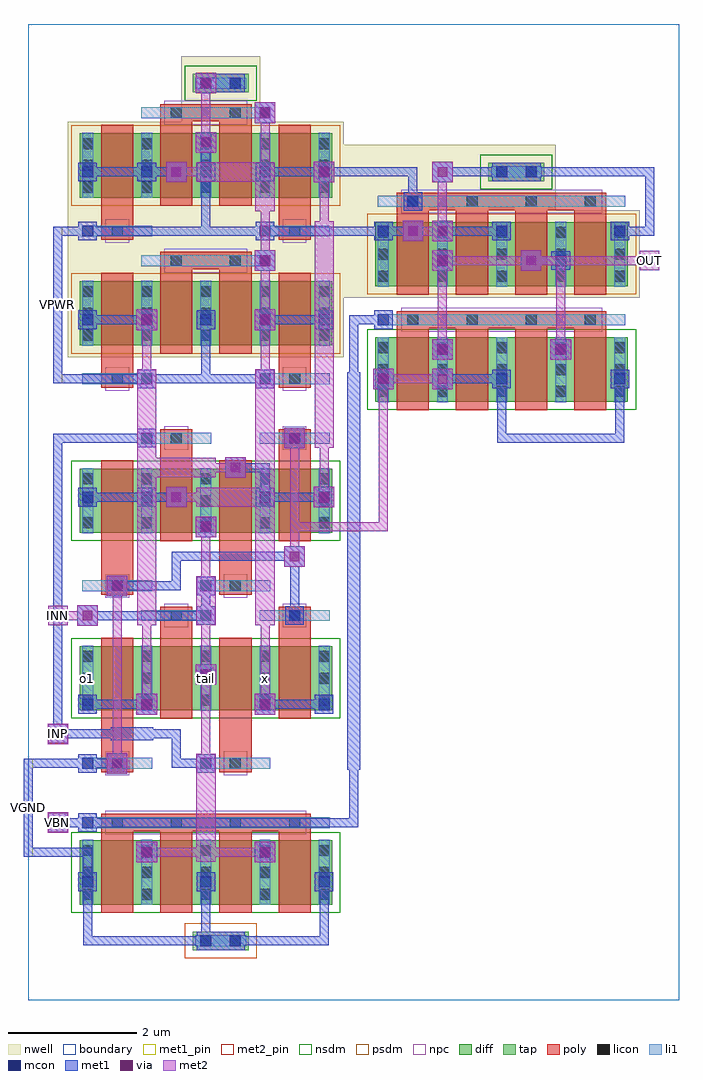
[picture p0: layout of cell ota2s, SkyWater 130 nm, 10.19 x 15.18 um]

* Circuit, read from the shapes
.subckt ota2s INN INP OUT VBN VGND VPWR o1 tail x
XM1 tail VBN VGND VGND sky130_fd_pr__nfet_01v8 w=1 l=0.5 m=4
XM2 o1 VGND o1 VGND sky130_fd_pr__nfet_01v8 w=1 l=0.5 m=2
XM3 x VGND x VGND sky130_fd_pr__nfet_01v8 w=1 l=0.5 m=2
XM4 tail INN o1 VGND sky130_fd_pr__nfet_01v8 w=1 l=0.5 m=2
XM5 tail INP x VGND sky130_fd_pr__nfet_01v8 w=1 l=0.5 m=2
XM6 OUT VBN VGND VGND sky130_fd_pr__nfet_01v8 w=1 l=0.5 m=4
XM7 o1 VPWR o1 VPWR sky130_fd_pr__pfet_01v8 w=1 l=0.5 m=2
XM8 x VPWR x VPWR sky130_fd_pr__pfet_01v8 w=1 l=0.5 m=2
XM9 VPWR x o1 VPWR sky130_fd_pr__pfet_01v8 w=1 l=0.5 m=2
XM10 VPWR x x VPWR sky130_fd_pr__pfet_01v8 w=1 l=0.5 m=2
XM11 OUT o1 VPWR VPWR sky130_fd_pr__pfet_01v8 w=1 l=0.5 m=4
.ends

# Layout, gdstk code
import gdstk
lib = gdstk.Library(unit=1e-6, precision=1e-09)
def R(c, l, rs):  # rectangles x0, y0, x1, y1
    for r in rs: c.add(gdstk.rectangle(r[:2], r[2:], *l))
def A(c, l, x, y, w, h, nx, ny, dx, dy):  # array of equal rectangles
    R(c, l, [(x+i*dx, y+j*dy, x+i*dx+w, y+j*dy+h) for i in range(nx) for j in range(ny)])
nwell = (64, 20)
diff = (65, 20)
tap = (65, 44)
poly = (66, 20)
licon = (66, 44)
li1 = (67, 20)
mcon = (67, 44)
met1_pin = (68, 16)
met1 = (68, 20)
via = (68, 44)
met2_pin = (69, 16)
met2 = (69, 20)
nsdm = (93, 44)
psdm = (94, 20)
npc = (95, 20)
boundary = (235, 4)

ota2s = lib.new_cell('ota2s')
R(ota2s, nwell, [(0.615,10,4.905,10.92), (0.615,10.92,9.505,12.28), (0.615,12.28,8.205,13.3), (0.615,13.3,4.905,13.66), (2.375,13.66,3.605,14.68)])
R(ota2s, diff, [(0.795,1.485,4.725,2.485), (0.795,4.505,4.725,5.505), (0.795,7.265,4.725,8.265), (5.395,9.305,9.325,10.305), (0.795,10.18,4.725,11.18), (5.395,11.1,9.325,12.1), (0.795,12.48,4.725,13.48)])
R(ota2s, tap, [(2.555,0.775,3.425,1.065), (7.155,12.735,8.025,13.025), (2.555,14.115,3.425,14.405)])
A(ota2s, poly, 1.13, 1.355, 0.5, 1.405, 4, 1, 0.92, 0)
A(ota2s, poly, 5.73, 9.175, 0.5, 1.405, 4, 1, 0.92, 0)
A(ota2s, poly, 5.73, 10.97, 0.5, 1.45, 4, 1, 0.92, 0)
R(ota2s, poly, [(1.13,2.625,4.39,2.895), (1.13,3.545,1.63,3.815), (2.97,3.545,3.47,3.815), (1.13,3.68,1.63,5.635), (2.97,3.68,3.47,5.635), (2.05,4.375,2.55,5.98), (3.89,4.375,4.39,5.98), (2.05,5.845,2.55,6.115), (3.89,5.845,4.39,6.115), (1.13,6.305,1.63,6.575), (2.97,6.305,3.47,6.575), (1.13,6.44,1.63,8.395), (2.97,6.44,3.47,8.395), (2.05,7.135,2.55,8.74), (3.89,7.135,4.39,8.74), (2.05,8.605,2.55,8.875), (3.89,8.605,4.39,8.875), (1.13,9.525,1.63,9.795), (3.89,9.525,4.39,9.795), (1.13,9.66,1.63,11.31), (3.89,9.66,4.39,11.31), (2.05,10.05,2.55,11.5), (2.97,10.05,3.47,11.5), (5.73,10.445,8.99,10.715), (2.05,11.365,3.47,11.635), (1.13,11.825,1.63,12.095), (3.89,11.825,4.39,12.095), (1.13,11.96,1.63,13.61), (3.89,11.96,4.39,13.61), (5.73,12.285,8.99,12.555), (2.05,12.35,2.55,13.8), (2.97,12.35,3.47,13.8), (2.05,13.665,3.47,13.935)])
A(ota2s, licon, 3.135, 0.835, 0.17, 0.17, 1, 3, 0, 2.76)
A(ota2s, licon, 0.835, 1.56, 0.17, 0.17, 5, 3, 0.92, 0.34)
A(ota2s, licon, 1.295, 2.675, 0.17, 0.17, 4, 1, 0.92, 0)
A(ota2s, licon, 0.835, 4.58, 0.17, 0.17, 5, 3, 0.92, 0.34)
A(ota2s, licon, 2.215, 5.895, 0.17, 0.17, 1, 3, 0, 2.76)
A(ota2s, licon, 0.835, 7.34, 0.17, 0.17, 5, 3, 0.92, 0.34)
A(ota2s, licon, 5.435, 9.38, 0.17, 0.17, 5, 3, 0.92, 0.34)
A(ota2s, licon, 0.835, 10.255, 0.17, 0.17, 5, 3, 0.92, 0.34)
A(ota2s, licon, 5.895, 10.495, 0.17, 0.17, 4, 2, 0.92, 1.84)
A(ota2s, licon, 5.435, 11.175, 0.17, 0.17, 5, 3, 0.92, 0.34)
A(ota2s, licon, 0.835, 12.555, 0.17, 0.17, 5, 3, 0.92, 0.34)
R(ota2s, licon, [(2.675,0.835,2.845,1.005), (1.295,3.595,1.465,3.765), (4.055,5.895,4.225,6.065), (1.295,6.355,1.465,6.525), (4.055,8.655,4.225,8.825), (1.295,9.575,1.465,9.745), (4.055,9.575,4.225,9.745), (3.135,11.415,3.305,11.585), (1.295,11.875,1.465,12.045), (4.055,11.875,4.225,12.045), (7.275,12.795,7.445,12.965), (7.735,12.795,7.905,12.965), (2.215,13.715,2.385,13.885), (3.135,13.715,3.305,13.885), (2.675,14.175,2.845,14.345), (3.135,14.175,3.305,14.345)])
A(ota2s, li1, 0.835, 1.48, 0.17, 1.01, 5, 2, 0.92, 3.02)
A(ota2s, li1, 0.835, 7.26, 0.17, 1.01, 5, 2, 0.92, 2.915)
A(ota2s, li1, 5.435, 9.3, 0.17, 1.01, 5, 2, 0.92, 1.795)
A(ota2s, li1, 0.835, 12.475, 0.17, 1.01, 5, 1, 0.92, 0)
R(ota2s, li1, [(2.595,0.835,3.385,1.005), (0.835,2.675,4.685,2.845), (0.835,3.595,1.925,3.765), (2.675,3.595,3.765,3.765), (1.755,5.895,2.845,6.065), (3.595,5.895,4.685,6.065), (0.835,6.355,1.925,6.525), (2.675,6.355,3.765,6.525), (1.755,8.655,2.845,8.825), (3.595,8.655,4.685,8.825), (0.835,9.575,1.925,9.745), (3.595,9.575,4.685,9.745), (5.435,10.495,9.285,10.665), (1.755,11.415,3.765,11.585), (0.835,11.875,1.925,12.045), (3.595,11.875,4.685,12.045), (5.435,12.335,9.285,12.505), (7.195,12.795,7.985,12.965), (1.755,13.715,3.765,13.885), (2.595,14.175,3.385,14.345)])
A(ota2s, mcon, 0.835, 1.755, 0.17, 0.17, 3, 1, 1.84, 0)
A(ota2s, mcon, 0.835, 2.675, 0.17, 0.17, 1, 3, 0, 0.92)
A(ota2s, mcon, 1.755, 9.575, 0.17, 0.17, 5, 1, 1.84, 0)
A(ota2s, mcon, 0.835, 10.495, 0.17, 0.17, 6, 1, 0.92, 0)
A(ota2s, mcon, 3.595, 11.875, 0.17, 0.17, 4, 1, 1.84, 0)
A(ota2s, mcon, 0.835, 12.795, 0.17, 0.17, 5, 1, 0.92, 0)
R(ota2s, mcon, [(2.675,0.835,2.845,1.005), (3.135,0.835,3.305,1.005), (1.755,2.215,1.925,2.385), (3.595,2.215,3.765,2.385), (2.675,3.595,2.845,3.765), (1.755,4.515,1.925,4.685), (3.595,4.515,3.765,4.685), (4.515,4.515,4.685,4.685), (2.675,4.975,2.845,5.145), (2.675,5.895,2.845,6.065), (4.055,5.895,4.225,6.065), (1.295,6.355,1.465,6.525), (2.675,6.355,2.845,6.525), (2.675,7.275,2.845,7.445), (0.835,7.735,1.005,7.905), (1.755,7.735,1.925,7.905), (3.595,7.735,3.765,7.905), (4.515,7.735,4.685,7.905), (1.755,8.655,1.925,8.825), (4.055,8.655,4.225,8.825), (6.355,10.035,6.525,10.205), (8.195,10.035,8.365,10.205), (3.595,11.415,3.765,11.585), (6.355,11.415,6.525,11.585), (8.195,11.415,8.365,11.585), (0.835,11.875,1.005,12.045), (5.895,12.335,6.065,12.505), (7.275,12.795,7.445,12.965), (7.735,12.795,7.905,12.965), (3.595,13.715,3.765,13.885), (2.675,14.175,2.845,14.345), (3.135,14.175,3.305,14.345)])
R(ota2s, met1_pin, [(-0.07,2.23,0.07,3.75), (0.39,9.59,0.53,12.03)])
A(ota2s, met1, 0.85, 0.85, 0.14, 1.06, 3, 1, 1.84, 0)
A(ota2s, met1, 0.775, 1.695, 0.29, 0.29, 3, 1, 1.84, 0)
A(ota2s, met1, 0.775, 2.615, 0.29, 0.29, 1, 3, 0, 0.92)
A(ota2s, met1, 1.695, 9.515, 0.29, 0.29, 5, 1, 1.84, 0)
A(ota2s, met1, 0.775, 10.435, 0.29, 0.29, 6, 1, 0.92, 0)
A(ota2s, met1, 3.535, 11.815, 0.29, 0.29, 4, 1, 1.84, 0)
A(ota2s, met1, 0.775, 12.735, 0.29, 0.29, 5, 1, 0.92, 0)
A(ota2s, met1, 0.85, 12.81, 1.06, 0.14, 3, 1, 2.76, 0)
R(ota2s, met1, [(2.615,0.775,3.365,1.065), (0.85,0.85,2.83,0.99), (2.69,0.85,4.67,0.99), (2.69,0.85,2.83,0.99), (0.85,1.77,0.99,2.37), (1.68,2.14,2,2.46), (3.52,2.14,3.84,2.46), (1.695,2.155,1.985,2.445), (3.535,2.155,3.825,2.445), (-0.07,2.23,0.99,2.37), (-0.07,2.23,0.07,3.75), (0.3,2.6,0.62,2.92), (0.39,2.69,0.99,2.83), (0.85,2.69,5.13,2.83), (4.99,2.69,5.13,3.75), (1.22,3.52,1.54,3.84), (2.615,3.535,2.905,3.825), (4.96,3.58,5.16,9.76), (-0.07,3.61,0.99,3.75), (0.85,3.61,1.45,3.75), (2.23,3.61,2.83,3.75), (2.23,3.61,2.37,4.21), (0.3,3.98,0.62,4.3), (1.28,4.04,1.94,4.24), (0.39,4.07,0.53,8.81), (0.39,4.07,1.45,4.21), (1.77,4.07,2.37,4.21), (1.68,4.44,2,4.76), (3.52,4.44,3.84,4.76), (1.695,4.455,1.985,4.745), (3.535,4.455,3.825,4.745), (4.455,4.455,4.745,4.745), (0.85,4.53,1.91,4.67), (3.61,4.53,4.67,4.67), (2.6,4.9,2.92,5.22), (2.615,4.915,2.905,5.205), (0.76,5.82,1.08,6.14), (2.615,5.835,2.905,6.125), (3.995,5.835,4.285,6.125), (0.85,5.91,2.83,6.05), (2.69,5.91,2.83,6.51), (4.07,5.91,4.21,6.97), (1.22,6.28,1.54,6.6), (1.235,6.295,1.525,6.585), (2.615,6.295,2.905,6.585), (1.31,6.37,2.37,6.51), (2.23,6.37,2.37,6.97), (3.98,6.74,4.3,7.06), (2.23,6.83,4.21,6.97), (2.6,7.2,2.92,7.52), (2.615,7.215,2.905,7.505), (2.14,7.66,2.46,7.98), (4.44,7.66,4.76,7.98), (0.775,7.675,1.065,7.965), (1.695,7.675,1.985,7.965), (3.535,7.675,3.825,7.965), (4.455,7.675,4.745,7.965), (0.85,7.75,1.91,7.89), (1.77,7.75,2.37,7.89), (3.61,7.75,3.75,8.35), (3.61,7.75,4.67,7.89), (3.06,8.12,3.38,8.44), (3.15,8.21,3.75,8.35), (3.98,8.58,4.3,8.9), (1.695,8.595,1.985,8.885), (3.995,8.595,4.285,8.885), (0.39,8.67,1.91,8.81), (7.29,8.67,9.27,8.81), (7.29,8.67,7.43,9.73), (9.13,8.67,9.27,9.73), (5.36,9.5,5.68,9.82), (6.28,9.5,6.6,9.82), (0.39,9.59,1.91,9.73), (0.39,9.59,0.53,12.03), (1.77,9.59,2.83,9.73), (2.69,9.59,2.83,10.65), (2.69,9.59,3.75,9.73), (4.99,9.59,5.13,10.65), (6.37,9.59,7.43,9.73), (6.28,9.96,6.6,10.28), (8.12,9.96,8.44,10.28), (6.295,9.975,6.585,10.265), (8.135,9.975,8.425,10.265), (1.68,10.42,2,10.74), (3.52,10.42,3.84,10.74), (0.85,10.51,1.91,10.65), (3.61,10.51,4.67,10.65), (4.99,10.51,5.59,10.65), (3.52,11.34,3.84,11.66), (6.28,11.34,6.6,11.66), (7.66,11.34,7.98,11.66), (3.535,11.355,3.825,11.645), (6.295,11.355,6.585,11.645), (8.135,11.355,8.425,11.645), (7.75,11.43,8.35,11.57), (5.82,11.8,6.14,12.12), (6.28,11.8,6.6,12.12), (0.775,11.815,1.065,12.105), (0.39,11.89,0.99,12.03), (0.85,11.89,3.75,12.03), (2.69,11.89,2.83,12.95), (3.61,11.89,5.59,12.03), (5.45,11.89,6.05,12.03), (6.37,11.89,7.43,12.03), (9.13,11.89,9.73,12.03), (9.59,11.89,9.73,12.95), (5.835,12.275,6.125,12.565), (5.91,12.35,6.05,12.95), (2.14,12.72,2.46,13.04), (4.44,12.72,4.76,13.04), (6.28,12.72,6.6,13.04), (7.215,12.735,7.965,13.025), (1.77,12.81,2.37,12.95), (2.69,12.81,2.83,13.41), (4.53,12.81,6.05,12.95), (7.29,12.81,7.43,12.95), (7.29,12.81,9.73,12.95), (2.6,13.18,2.92,13.5), (3.52,13.64,3.84,13.96), (3.535,13.655,3.825,13.945), (2.6,14.1,2.92,14.42), (2.615,14.115,3.365,14.405), (2.69,14.19,2.83,14.33)])
R(ota2s, via, [(1.765,2.225,1.915,2.375), (3.605,2.225,3.755,2.375), (0.385,2.685,0.535,2.835), (1.305,3.605,1.455,3.755), (0.385,4.065,0.535,4.215), (1.765,4.525,1.915,4.675), (3.605,4.525,3.755,4.675), (2.685,4.985,2.835,5.135), (0.845,5.905,0.995,6.055), (1.305,6.365,1.455,6.515), (4.065,6.825,4.215,6.975), (2.685,7.285,2.835,7.435), (2.225,7.745,2.375,7.895), (4.525,7.745,4.675,7.895), (3.145,8.205,3.295,8.355), (4.065,8.665,4.215,8.815), (5.445,9.585,5.595,9.735), (6.365,9.585,6.515,9.735), (6.365,10.045,6.515,10.195), (8.205,10.045,8.355,10.195), (1.765,10.505,1.915,10.655), (3.605,10.505,3.755,10.655), (3.605,11.425,3.755,11.575), (6.365,11.425,6.515,11.575), (7.745,11.425,7.895,11.575), (5.905,11.885,6.055,12.035), (6.365,11.885,6.515,12.035), (2.225,12.805,2.375,12.955), (4.525,12.805,4.675,12.955), (6.365,12.805,6.515,12.955), (2.685,13.265,2.835,13.415), (3.605,13.725,3.755,13.875), (2.685,14.185,2.835,14.335)])
R(ota2s, met2_pin, [(0.31,2.61,0.61,2.91), (0.31,3.99,0.61,4.29), (0.31,5.83,0.61,6.13), (9.51,11.35,9.81,11.65)])
A(ota2s, met2, 3.61, 9.59, 0.14, 1.06, 1, 3, 0, 0.92)
R(ota2s, met2, [(1.68,2.14,2,2.46), (3.52,2.14,3.84,2.46), (2.61,2.15,2.91,3.83), (1.77,2.23,2.83,2.37), (2.69,2.23,3.75,2.37), (0.3,2.6,0.62,2.92), (0.31,2.61,0.61,2.91), (0.39,2.69,0.53,2.83), (1.22,3.52,1.54,3.84), (1.31,3.61,1.45,6.51), (2.69,3.61,2.83,5.13), (0.3,3.98,0.62,4.3), (0.31,3.99,0.61,4.29), (0.39,4.07,0.53,4.21), (1.68,4.44,2,4.76), (3.52,4.44,3.84,4.76), (1.77,4.53,1.91,6.05), (3.61,4.53,3.75,6.05), (2.6,4.9,2.92,5.22), (2.69,4.99,2.83,6.05), (0.76,5.82,1.08,6.14), (0.31,5.83,0.61,6.13), (1.69,5.83,1.99,9.81), (2.61,5.83,2.91,6.59), (3.53,5.83,3.83,9.81), (0.39,5.91,0.53,6.05), (0.39,5.91,0.99,6.05), (1.22,6.28,1.54,6.6), (2.69,6.37,2.83,7.43), (3.98,6.74,4.3,7.06), (4.07,6.83,4.21,8.81), (2.6,7.2,2.92,7.52), (4.07,7.29,5.59,7.43), (5.45,7.29,5.59,9.73), (2.14,7.66,2.46,7.98), (4.44,7.66,4.76,7.98), (2.61,7.67,3.83,7.97), (2.23,7.75,2.83,7.89), (4.53,7.75,4.67,8.81), (3.06,8.12,3.38,8.44), (1.69,8.13,2.91,8.43), (2.69,8.21,3.29,8.35), (3.98,8.58,4.3,8.9), (4.45,8.59,4.75,12.11), (5.36,9.5,5.68,9.82), (6.28,9.5,6.6,9.82), (1.77,9.59,1.91,10.65), (5.45,9.59,6.51,9.73), (6.28,9.96,6.6,10.28), (8.12,9.96,8.44,10.28), (6.37,10.05,6.51,11.57), (8.21,10.05,8.35,11.57), (1.68,10.42,2,10.74), (3.52,10.42,3.84,10.74), (3.52,11.34,3.84,11.66), (6.28,11.34,6.6,11.66), (7.66,11.34,7.98,11.66), (9.51,11.35,9.81,11.65), (6.37,11.43,7.89,11.57), (7.75,11.43,9.73,11.57), (9.59,11.43,9.73,11.57), (5.82,11.8,6.14,12.12), (6.28,11.8,6.6,12.12), (4.53,11.89,4.67,12.95), (5.91,11.89,6.51,12.03), (6.37,11.89,6.51,12.95), (3.53,12.27,3.83,13.03), (2.14,12.72,2.46,13.04), (4.44,12.72,4.76,13.04), (6.28,12.72,6.6,13.04), (2.61,12.73,3.83,13.03), (2.23,12.81,2.83,12.95), (3.61,12.81,3.75,13.87), (2.6,13.18,2.92,13.5), (2.69,13.27,2.83,14.33), (3.52,13.64,3.84,13.96), (2.6,14.1,2.92,14.42)])
R(ota2s, nsdm, [(0.67,1.36,4.85,2.61), (0.67,4.38,4.85,5.63), (0.67,7.14,4.85,8.39), (5.27,9.18,9.45,10.43), (7.03,12.61,8.15,13.15), (2.43,13.99,3.55,14.53)])
R(ota2s, psdm, [(2.43,0.65,3.55,1.19), (0.67,10.055,4.85,11.305), (5.27,10.975,9.45,12.225), (0.67,12.355,4.85,13.605)])
R(ota2s, npc, [(1.195,2.575,4.325,2.945), (1.195,3.495,1.565,3.865), (3.035,3.495,3.405,3.865), (2.115,5.795,2.485,6.165), (3.955,5.795,4.325,6.165), (1.195,6.255,1.565,6.625), (3.035,6.255,3.405,6.625), (2.115,8.555,2.485,8.925), (3.955,8.555,4.325,8.925), (1.195,9.475,1.565,9.845), (3.955,9.475,4.325,9.845), (5.795,10.395,8.925,10.765), (2.115,11.315,3.405,11.685), (1.195,11.775,1.565,12.145), (3.955,11.775,4.325,12.145), (5.795,12.235,8.925,12.605), (2.115,13.615,3.405,13.985)])
R(ota2s, boundary, [(0,0,10.12,15.18)])
ota2s.add(gdstk.Label('o1', (0.92,5.005), layer=67, texttype=5))
ota2s.add(gdstk.Label('tail', (2.76,5.005), layer=67, texttype=5))
ota2s.add(gdstk.Label('x', (3.68,5.005), layer=67, texttype=5))
ota2s.add(gdstk.Label('VPWR', (0.46,10.81), layer=68, texttype=5))
ota2s.add(gdstk.Label('VGND', (0,2.99), layer=68, texttype=5))
ota2s.add(gdstk.Label('INP', (0.46,4.14), layer=69, texttype=5))
ota2s.add(gdstk.Label('INN', (0.46,5.98), layer=69, texttype=5))
ota2s.add(gdstk.Label('VBN', (0.46,2.76), layer=69, texttype=5))
ota2s.add(gdstk.Label('OUT', (9.66,11.5), layer=69, texttype=5))
ota2s.add(gdstk.Label('VPWR', (0.46,10.81), layer=68, texttype=16))
ota2s.add(gdstk.Label('VGND', (0,2.99), layer=68, texttype=16))
ota2s.add(gdstk.Label('INP', (0.46,4.14), layer=69, texttype=16))
ota2s.add(gdstk.Label('INN', (0.46,5.98), layer=69, texttype=16))
ota2s.add(gdstk.Label('VBN', (0.46,2.76), layer=69, texttype=16))
ota2s.add(gdstk.Label('OUT', (9.66,11.5), layer=69, texttype=16))

lib.write_gds('ota2s.gds')
